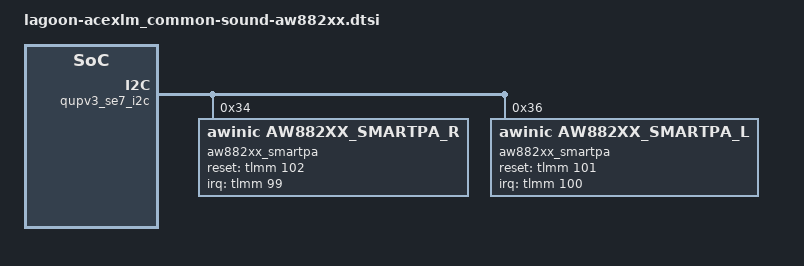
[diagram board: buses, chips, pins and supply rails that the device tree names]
/* SPDX-License-Identifier: GPL-2.0-only */
/*
 * Copyright (c) 2018-2019, The Linux Foundation. All rights reserved.
 */

/*
 * Copyright (c) 2018, The Linux Foundation. All rights reserved.
 *
 * This program is free software; you can redistribute it and/or modify
 * it under the terms of the GNU General Public License version 2 and
 * only version 2 as published by the Free Software Foundation.
 *
 * This program is distributed in the hope that it will be useful,
 * but WITHOUT ANY WARRANTY; without even the implied warranty of
 * MERCHANTABILITY or FITNESS FOR A PARTICULAR PURPOSE.  See the
 * GNU General Public License for more details.
 */

//bug 547982, baoshulin@wingtech.com, 20200418, modify audio bringup smartpa
&qupv3_se7_i2c {
	status = "ok";
	#address-cells = <1>;
	#size-cells = <0>;
	aw882xx_smartpa@34 {
		compatible = "awinic,aw882xx_smartpa_r";
		reg = <0x34>;
		reset-gpio = <&tlmm 102 0>;
		irq-gpio = <&tlmm 99 0x2008>;
		monitor-flag = <1>;
		monitor-timer-val = <3000>;
		status = "okay";
		aw-cali-mode = "aw_misc";
		sound-channel = "right";
	};
	aw882xx_smartpa@36 {
		compatible = "awinic,aw882xx_smartpa_l";
		reg = <0x36>;
		reset-gpio = <&tlmm 101 0>;
		irq-gpio = <&tlmm 100 0x2008>;
		monitor-flag = <1>;
		monitor-timer-val = <3000>;
		status = "okay";
		aw-cali-mode = "aw_misc";
		sound-channel = "left";
	};
};

&tlmm {
	mi2s_2_sck_active: mi2s_2_sck_active {
		mux {
			pins = "gpio72";
			function = "mi2s_2";
		};

		config {
			pins = "gpio72";
			drive-strength = <8>;   /* 8 mA */
			bias-disable;
			output-high;
		};
	};

	mi2s_2_sck_sleep: mi2s_2_sck_sleep {
		mux {
			pins = "gpio72";
			function = "mi2s_2";
		};

		config {
			pins = "gpio72";
			drive-strength = <2>;   /* 2 mA */
			bias-disable;
			output-high;
		};
	};

	mi2s_2_ws_active: mi2s_2_ws_active {
		mux {
			pins = "gpio74";
			function = "mi2s_2";
		};

		config {
			pins = "gpio74";
			drive-strength = <8>;   /* 8 mA */
			bias-disable;
			output-high;
		};
	};

	mi2s_2_ws_sleep: mi2s_2_ws_sleep {
		mux {
			pins = "gpio74";
			function = "mi2s_2";
		};

		config {
			pins = "gpio74";
			drive-strength = <2>;   /* 8 mA */
			bias-disable;
			output-high;
		};
	};

	mi2s_2_data0_active: mi2s_2_data0_active {
		mux {
			pins = "gpio73";
			function = "mi2s_2";
		};

		config {
			pins = "gpio73";
			drive-strength = <8>;   /* 8 mA */
			bias-disable;
			output-high;
		};
	};

	mi2s_2_data0_sleep: mi2s_2_data0_sleep {
		mux {
			pins = "gpio73";
			function = "mi2s_2";
		};

		config {
			pins = "gpio73";
			drive-strength = <2>;   /* 8 mA */
			bias-disable;
			output-high;
		};
	};

	mi2s_2_data1_active: mi2s_2_data1_active {
		mux {
			pins = "gpio60";
			function = "mi2s_2";
		};

		config {
			pins = "gpio60";
			drive-strength = <8>;   /* 8 mA */
			bias-disable;
			output-high;
		};
	};

	mi2s_2_data1_sleep: mi2s_2_data1_sleep {
		mux {
			pins = "gpio60";
			function = "mi2s_2";
		};

		config {
			pins = "gpio60";
			drive-strength = <2>;   /* 8 mA */
			bias-disable;
			output-high;
		};
	};
};
//-bug 547982, baoshulin@wingtech.com, 20200418, modify audio bringup smartpa

